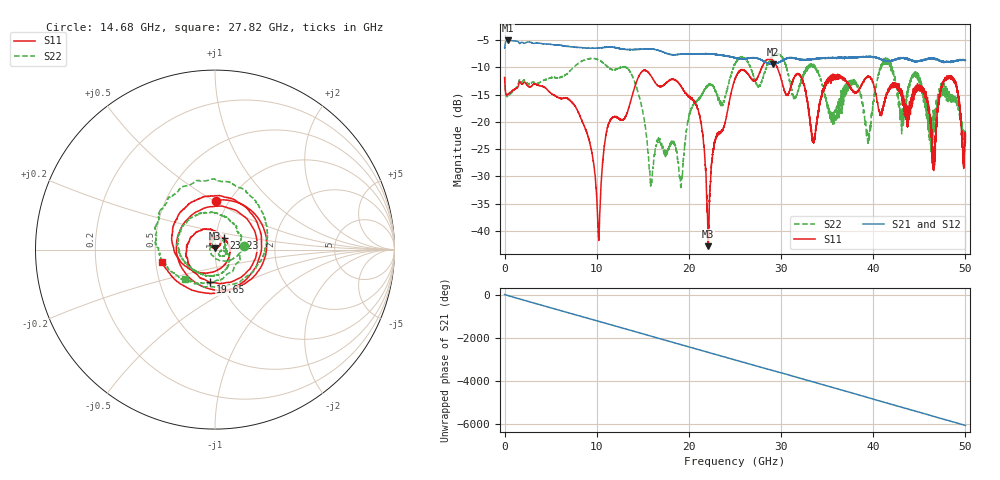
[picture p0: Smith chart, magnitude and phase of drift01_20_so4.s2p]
!Created with skrf (http://scikit-rf.org).
# Hz S RI R 50.0
!freq ReS11 ImS11 ReS21 ImS21 ReS12 ImS12 ReS22 ImS22
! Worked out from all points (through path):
!   10001 points, 300 kHz to 50 GHz, reference 50 ohm
!   highest |S21| = -5.05 dB at 375.3 MHz (marker M1); lowest = -9.4 dB at 29.09 GHz (marker M2)
!   group delay of S21, straight-line fit = 336 ps
!   lowest |S11| = -42.8 dB at 22.1 GHz (marker M3), VSWR 1.01, Z = 49.8 + j0.701 ohm
!   |S11| at or under -10 dB: start of sweep to 27.92 GHz; 29.58 GHz to end of sweep
!   |S22| runs from -32.2 to -7.5 dB; largest |S21 - S12| = 0.012
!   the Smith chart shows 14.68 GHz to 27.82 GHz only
!   S11 on the Smith chart (normalised r, x): 14.68 GHz: 0.87, +0.51; 19.65 GHz: 0.89, -0.34; 23.23 GHz: 1.09, +0.14; 27.82 GHz: 0.54, -0.08
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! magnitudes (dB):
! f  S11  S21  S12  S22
! 300 kHz  -11.9  -6.4  -6.5  -11.7
! 375.3 MHz  -14.9  -5.1  -5.1  -15.2
! 8.335 GHz  -19.6  -6.4  -6.4  -8.9
! 10.2 GHz  -41.1  -6.4  -6.4  -8.6
! 11.24 GHz  -20.7  -6.3  -6.2  -10.0
! 14.68 GHz  -11.3  -6.7  -6.7  -15.8
! 15.87 GHz  -11.5  -6.6  -6.6  -31.5
! 16.67 GHz  -13.4  -6.9  -6.9  -23.2
! 19.65 GHz  -14.7  -7.5  -7.5  -22.8
! 21.23 GHz  -19.5  -7.5  -7.5  -15.6
! 22.1 GHz  -42.8  -7.5  -7.5  -13.4
! 23.23 GHz  -22.0  -7.6  -7.7  -15.6
! 25 GHz  -12.1  -8.2  -8.3  -9.5
! 27.82 GHz  -10.4  -8.6  -8.6  -12.7
! 29.09 GHz  -8.7  -9.4  -9.4  -8.0
! 33.34 GHz  -22.7  -8.5  -8.5  -9.6
! 39.47 GHz  -11.7  -8.1  -8.0  -22.6
! 41.67 GHz  -13.9  -8.8  -8.8  -8.9
! 45.48 GHz  -14.3  -8.6  -8.5  -16.0
! 46.56 GHz  -25.8  -8.4  -8.3  -20.6
! 48.52 GHz  -11.6  -8.9  -8.9  -15.1
! 50 GHz  -23.8  -8.7  -8.7  -22.8
